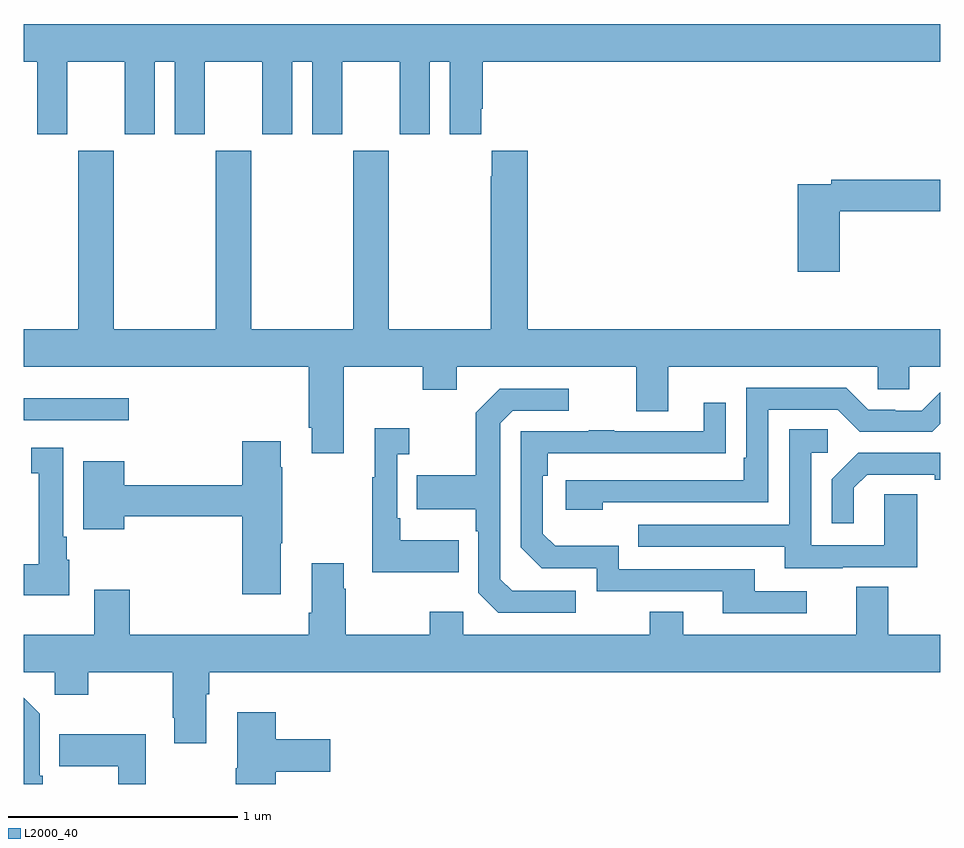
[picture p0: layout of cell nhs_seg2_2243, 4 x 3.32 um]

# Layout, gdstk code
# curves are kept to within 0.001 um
import gdstk
lib = gdstk.Library(unit=1e-6, precision=1e-09)
def R(c, l, rs):  # rectangles x0, y0, x1, y1
    for r in rs: c.add(gdstk.rectangle(r[:2], r[2:], *l))
def P(c, l, *ps):  # polygons
    for p in ps: c.add(gdstk.Polygon(p, *l))
L2000_40 = (2000, 40)

nhs_seg2_2243 = lib.new_cell('nhs_seg2_2243')
R(nhs_seg2_2243, L2000_40, [(227,663.387,227.458,663.484)])
P(nhs_seg2_2243, L2000_40, [(227.191,664.952),(227.441,664.952),(227.441,664.635),(227.572,664.635),(227.572,664.952),(227.66,664.952),(227.66,664.635),(227.791,664.635),(227.791,664.952),(228.041,664.952),(228.041,664.635),(228.172,664.635),(228.172,664.952),(228.26,664.952),(228.26,664.635),(228.391,664.635),(228.391,664.952),(228.641,664.952),(228.641,664.635),(228.772,664.635),(228.772,664.952),(228.86,664.952),(228.86,664.635),(228.997,664.635),(228.997,664.747),(229.004,664.747),(229.004,664.952),(231,664.952),(231,665.116),(227,665.116),(227,664.952),(227.06,664.952),(227.06,664.635),(227.191,664.635)],
  [(228.397,663.62),(228.742,663.62),(228.742,663.521),(228.889,663.521),(228.889,663.62),(229.673,663.62),(229.673,663.426),(229.813,663.426),(229.813,663.62),(230.727,663.62),(230.727,663.522),(230.865,663.522),(230.865,663.62),(231,663.62),(231,663.784),(229.199,663.784),(229.199,664.564),(229.043,664.564),(229.043,664.451),(229.039,664.451),(229.039,663.784),(228.594,663.784),(228.594,664.564),(228.439,664.564),(228.439,663.784),(227.994,663.784),(227.994,664.564),(227.839,664.564),(227.839,663.784),(227.394,663.784),(227.394,664.564),(227.239,664.564),(227.239,663.784),(227,663.784),(227,663.62),(228.245,663.62),(228.245,663.355),(228.257,663.355),(228.257,663.243),(228.397,663.243)],
  [(230.561,664.3),(231,664.3),(231,664.436),(230.524,664.436),(230.524,664.416),(230.378,664.416),(230.378,664.035),(230.561,664.035)],
  [(229.526,663.03),(230.25,663.03),(230.25,663.432),(230.553,663.432),(230.649,663.336),(230.964,663.336),(231,663.372),(231,663.51),(230.919,663.429),(230.804,663.429),(230.804,663.432),(230.685,663.432),(230.589,663.528),(230.154,663.528),(230.154,663.223),(230.141,663.223),(230.141,663.126),(229.365,663.126),(229.365,662.996),(229.526,662.996)],
  [(229.408,662.643),(229.131,662.643),(229.08,662.694),(229.08,663.375),(229.134,663.429),(229.378,663.429),(229.378,663.525),(229.077,663.525),(228.972,663.419),(228.972,663.147),(228.715,663.147),(228.715,662.999),(228.972,662.999),(228.972,662.903),(228.984,662.903),(228.984,662.634),(229.071,662.547),(229.408,662.547)],
  [(230.416,662.64),(230.191,662.64),(230.191,662.736),(229.596,662.736),(229.596,662.839),(229.319,662.839),(229.266,662.892),(229.266,663.146),(229.286,663.146),(229.286,663.243),(230.063,663.244),(230.063,663.463),(229.967,663.463),(229.967,663.339),(229.577,663.339),(229.577,663.344),(229.465,663.344),(229.465,663.339),(229.17,663.339),(229.17,662.832),(229.26,662.742),(229.5,662.742),(229.5,662.64),(230.051,662.64),(230.051,662.544),(230.416,662.544)],
  [(228.899,662.863),(228.643,662.863),(228.643,662.959),(228.63,662.959),(228.63,663.239),(228.682,663.239),(228.682,663.352),(228.533,663.352),(228.533,663.139),(228.522,663.139),(228.522,662.723),(228.899,662.723)],
  [(230.575,662.745),(230.899,662.745),(230.899,663.065),(230.754,663.065),(230.754,662.841),(230.436,662.841),(230.436,663.246),(230.509,663.246),(230.509,663.347),(230.34,663.347),(230.34,662.931),(229.681,662.931),(229.681,662.835),(230.321,662.835),(230.321,662.741),(230.575,662.741)],
  [(228.121,662.851),(228.129,662.851),(228.129,663.182),(228.121,663.182),(228.121,663.295),(227.954,663.295),(227.954,663.104),(227.44,663.104),(227.44,663.208),(227.261,663.208),(227.261,662.912),(227.44,662.912),(227.44,662.968),(227.954,662.968),(227.954,662.628),(228.121,662.628)],
  [(227.2,662.778),(227.188,662.778),(227.188,662.878),(227.173,662.878),(227.173,663.268),(227.033,663.268),(227.033,663.155),(227.066,663.155),(227.066,662.758),(227,662.758),(227,662.624),(227.2,662.624)],
  [(230.623,663.093),(230.68,663.15),(230.975,663.15),(230.975,663.128),(231,663.128),(231,663.246),(230.642,663.246),(230.526,663.13),(230.526,662.937),(230.623,662.937)],
  [(227.797,662.192),(227.81,662.192),(227.81,662.288),(231,662.288),(231,662.452),(230.773,662.452),(230.773,662.66),(230.633,662.66),(230.633,662.452),(229.879,662.452),(229.879,662.551),(229.732,662.551),(229.732,662.452),(228.918,662.452),(228.918,662.551),(228.772,662.551),(228.772,662.452),(228.405,662.452),(228.405,662.651),(228.397,662.651),(228.397,662.764),(228.257,662.764),(228.257,662.548),(228.245,662.548),(228.245,662.452),(227.462,662.452),(227.462,662.647),(227.309,662.647),(227.309,662.452),(227,662.452),(227,662.288),(227.136,662.288),(227.136,662.189),(227.283,662.189),(227.283,662.288),(227.65,662.288),(227.65,662.089),(227.657,662.089),(227.657,661.977),(227.797,661.977)],
  [(227.083,661.837),(227.07,661.837),(227.07,662.106),(227,662.176),(227,661.8),(227.083,661.8)],
  [(228.101,661.853),(228.337,661.853),(228.337,661.995),(228.101,661.995),(228.101,662.113),(227.933,662.113),(227.933,661.869),(227.926,661.869),(227.926,661.8),(228.101,661.8)],
  [(227.533,662.017),(227.155,662.017),(227.155,661.877),(227.412,661.877),(227.412,661.8),(227.533,661.8)])

lib.write_gds('nhs_seg2_2243.gds')
